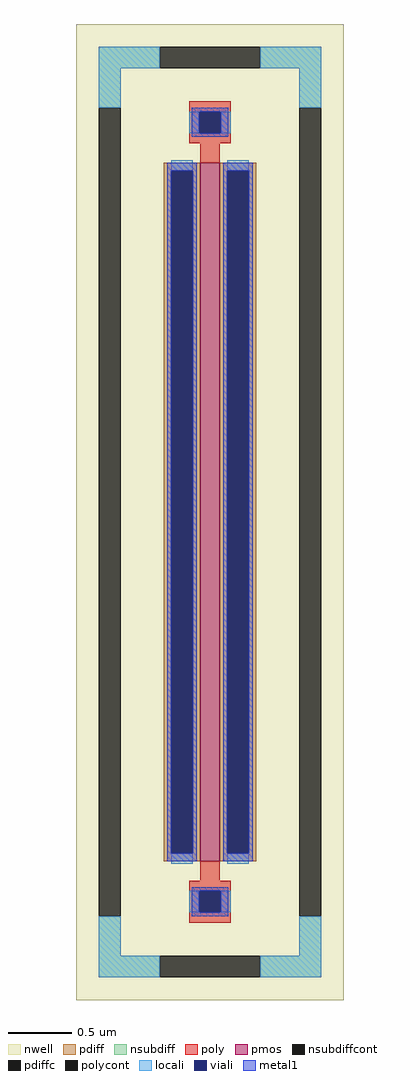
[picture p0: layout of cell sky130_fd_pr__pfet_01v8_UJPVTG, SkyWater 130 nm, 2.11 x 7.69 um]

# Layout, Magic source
magic
tech sky130A
magscale 1 2
<< nwell >>
rect -211 -769 211 769
<< pmos >>
rect -15 -550 15 550
<< pdiff >>
rect -73 538 -15 550
rect -73 -538 -61 538
rect -27 -538 -15 538
rect -73 -550 -15 -538
rect 15 538 73 550
rect 15 -538 27 538
rect 61 -538 73 538
rect 15 -550 73 -538
<< pdiffc >>
rect -61 -538 -27 538
rect 27 -538 61 538
<< nsubdiff >>
rect -175 699 -79 733
rect 79 699 175 733
rect -175 637 -141 699
rect 141 637 175 699
rect -175 -699 -141 -637
rect 141 -699 175 -637
rect -175 -733 -79 -699
rect 79 -733 175 -699
<< nsubdiffcont >>
rect -79 699 79 733
rect -175 -637 -141 637
rect 141 -637 175 637
rect -79 -733 79 -699
<< poly >>
rect -33 631 33 647
rect -33 597 -17 631
rect 17 597 33 631
rect -33 581 33 597
rect -15 550 15 581
rect -15 -581 15 -550
rect -33 -597 33 -581
rect -33 -631 -17 -597
rect 17 -631 33 -597
rect -33 -647 33 -631
<< polycont >>
rect -17 597 17 631
rect -17 -631 17 -597
<< locali >>
rect -175 699 -79 733
rect 79 699 175 733
rect -175 637 -141 699
rect 141 637 175 699
rect -33 597 -17 631
rect 17 597 33 631
rect -61 538 -27 554
rect -61 -554 -27 -538
rect 27 538 61 554
rect 27 -554 61 -538
rect -33 -631 -17 -597
rect 17 -631 33 -597
rect -175 -699 -141 -637
rect 141 -699 175 -637
rect -175 -733 -79 -699
rect 79 -733 175 -699
<< viali >>
rect -17 597 17 631
rect -61 -538 -27 538
rect 27 -538 61 538
rect -17 -631 17 -597
<< metal1 >>
rect -29 631 29 637
rect -29 597 -17 631
rect 17 597 29 631
rect -29 591 29 597
rect -67 538 -21 550
rect -67 -538 -61 538
rect -27 -538 -21 538
rect -67 -550 -21 -538
rect 21 538 67 550
rect 21 -538 27 538
rect 61 -538 67 538
rect 21 -550 67 -538
rect -29 -597 29 -591
rect -29 -631 -17 -597
rect 17 -631 29 -597
rect -29 -637 29 -631
<< properties >>
string FIXED_BBOX -158 -716 158 716
string gencell sky130_fd_pr__pfet_01v8
string library sky130
string parameters w 5.5 l 0.15 m 1 nf 1 diffcov 100 polycov 100 guard 1 glc 1 grc 1 gtc 1 gbc 1 tbcov 100 rlcov 100 topc 1 botc 1 poverlap 0 doverlap 1 lmin 0.15 wmin 0.42 compatible {sky130_fd_pr__pfet_01v8  sky130_fd_pr__pfet_01v8_lvt sky130_fd_pr__pfet_01v8_hvt  sky130_fd_pr__pfet_g5v0d10v5} full_metal 1 viasrc 100 viadrn 100 viagate 100 viagb 0 viagr 0 viagl 0 viagt 0
<< end >>
